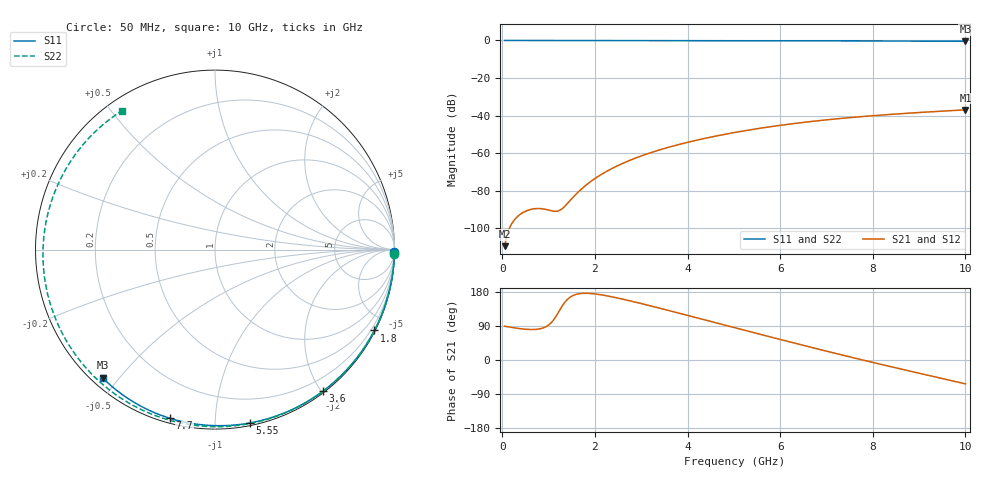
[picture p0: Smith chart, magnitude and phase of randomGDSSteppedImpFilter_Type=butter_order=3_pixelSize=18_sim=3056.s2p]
! freq	dB(S11)	phase(S11)	dB(S12)	phase(S12)
!  dB(S21)	phase(S21)	dB(S22)	phase(S22)
!S-par simulation data
#  GHz  S  DB  R 50
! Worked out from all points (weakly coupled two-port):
!   200 points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, 50 MHz to 10 GHz, reference 50 ohm
!   highest |S21| = -36.98 dB at 10 GHz (marker M1); lowest = -109.6 dB at 50 MHz (marker M2)
!   lowest |S11| = -0.4 dB at 10 GHz (marker M3), VSWR 39.13, Z = 1.54 - j22.6 ohm
!   |S11| at or under -10 dB: nowhere
!   |S22| runs from -0.6 to 0.0 dB; largest |S21 - S12| = 0
!   S11 on the Smith chart (normalised r, x): 50 MHz: open; 1.8 GHz: 0.04, -4.18; 3.6 GHz: 0.02, -2.02; 5.55 GHz: 0.02, -1.22; 7.7 GHz: 0.02, -0.77; 10 GHz: 0.03, -0.45
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0.05  -0.00 -0.8  -109.59 89.1  -109.59 89.1  -0.00 -1.4
0.4  -0.01 -6.0  -92.41 82.5  -92.41 82.5  -0.02 -11.0
0.8  -0.02 -12.1  -89.54 81.9  -89.54 81.9  -0.03 -22.0
1.2  -0.02 -18.0  -90.90 123.2  -90.90 123.2  -0.04 -32.8
1.65  -0.03 -24.7  -80.50 174.7  -80.50 174.7  -0.06 -44.7
1.75  -0.03 -26.2  -78.27 176.0  -78.27 176.0  -0.06 -47.3
1.8  -0.03 -26.9  -77.24 176.1  -77.24 176.1  -0.06 -48.6
2.1  -0.04 -31.3  -71.97 172.7  -71.97 172.7  -0.07 -56.3
2.5  -0.05 -37.1  -66.62 163.3  -66.62 163.3  -0.08 -66.4
2.9  -0.06 -42.8  -62.44 152.0  -62.44 152.0  -0.10 -76.3
3.4  -0.07 -49.8  -58.28 136.7  -58.28 136.7  -0.11 -88.2
3.6  -0.07 -52.6  -56.84 130.4  -56.84 130.4  -0.12 -92.9
4.3  -0.09 -62.2  -52.56 108.1  -52.56 108.1  -0.15 -108.9
5.05  -0.11 -72.1  -48.89 84.2  -48.89 84.2  -0.19 -125.4
5.55  -0.13 -78.6  -46.84 68.4  -46.84 68.4  -0.21 -136.1
6.15  -0.15 -86.1  -44.73 49.5  -44.73 49.5  -0.25 -148.9
6.7  -0.18 -92.9  -43.09 32.5  -43.09 32.5  -0.29 -160.5
7.2  -0.21 -99.0  -41.80 17.3  -41.80 17.3  -0.33 -171.2
7.7  -0.24 -104.9  -40.69 2.4  -40.69 2.4  -0.38 178.0
8.35  -0.29 -112.5  -39.45 -16.5  -39.45 -16.5  -0.44 163.5
9.15  -0.36 -121.7  -38.15 -39.1  -38.15 -39.1  -0.53 144.9
10  -0.44 -131.3  -36.98 -63.0  -36.98 -63.0  -0.62 123.8
